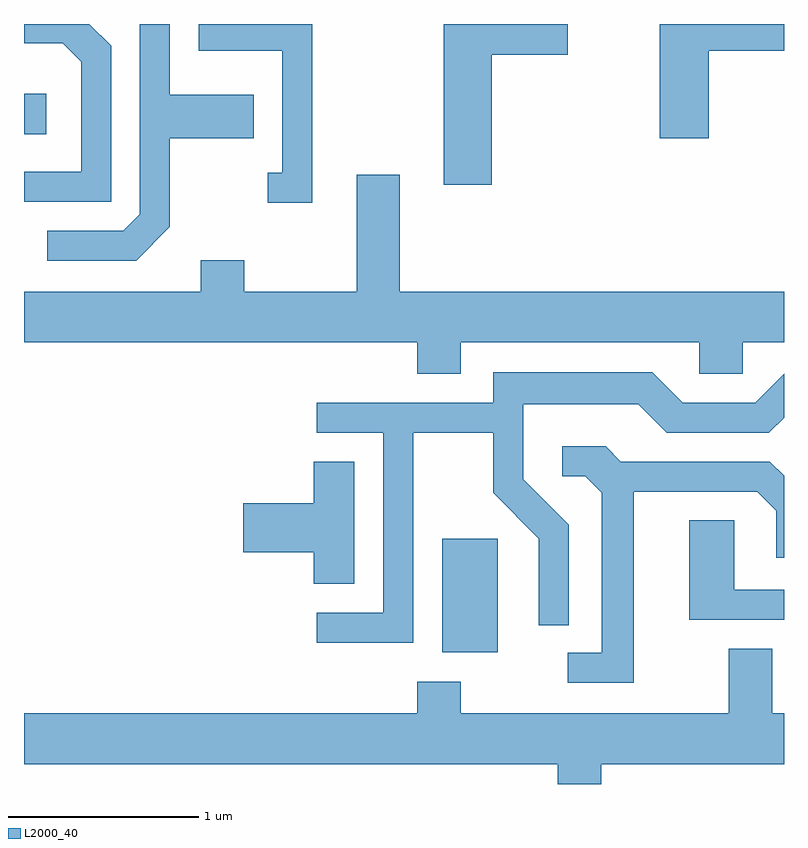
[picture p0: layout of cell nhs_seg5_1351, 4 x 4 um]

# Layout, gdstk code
import gdstk
lib = gdstk.Library(unit=1e-6, precision=1e-09)
def R(c, l, rs):  # rectangles x0, y0, x1, y1
    for r in rs: c.add(gdstk.rectangle(r[:2], r[2:], *l))
def P(c, l, *ps):  # polygons
    for p in ps: c.add(gdstk.Polygon(p, *l))
L2000_40 = (2000, 40)

nhs_seg5_1351 = lib.new_cell('nhs_seg5_1351')
R(nhs_seg5_1351, L2000_40, [(227.811,1410.766,228.104,1411.364), (225.611,1413.491,225.729,1413.704)])
P(nhs_seg5_1351, L2000_40, [(229.214,1413.931),(229.611,1413.931),(229.611,1414.072),(228.956,1414.072),(228.956,1413.471),(229.214,1413.471)],
  [(228.074,1413.911),(228.474,1413.911),(228.474,1414.072),(227.821,1414.072),(227.821,1413.226),(228.074,1413.226)],
  [(227.129,1414.072),(226.531,1414.072),(226.531,1413.931),(226.971,1413.931),(226.971,1413.289),(226.893,1413.289),(226.893,1413.131),(227.129,1413.131)],
  [(226.069,1413.957),(225.954,1414.072),(225.611,1414.072),(225.611,1413.971),(225.814,1413.971),(225.911,1413.874),(225.911,1413.294),(225.611,1413.294),(225.611,1413.136),(226.069,1413.136)],
  [(226.379,1413.004),(226.379,1413.471),(226.819,1413.471),(226.819,1413.699),(226.379,1413.699),(226.379,1414.072),(226.221,1414.072),(226.221,1413.072),(226.134,1412.984),(225.733,1412.984),(225.733,1412.826),(226.202,1412.826)],
  [(227.909,1412.396),(229.166,1412.396),(229.166,1412.231),(229.394,1412.231),(229.394,1412.396),(229.611,1412.396),(229.611,1412.664),(227.589,1412.664),(227.589,1413.279),(227.361,1413.279),(227.361,1412.664),(226.769,1412.664),(226.769,1412.829),(226.541,1412.829),(226.541,1412.664),(225.611,1412.664),(225.611,1412.396),(227.681,1412.396),(227.681,1412.231),(227.909,1412.231)],
  [(227.659,1411.921),(228.081,1411.921),(228.081,1411.604),(228.321,1411.364),(228.321,1410.908),(228.479,1410.908),(228.479,1411.437),(228.239,1411.677),(228.239,1412.071),(228.844,1412.071),(228.994,1411.921),(229.532,1411.921),(229.611,1412),(229.611,1412.231),(229.459,1412.079),(229.077,1412.079),(228.917,1412.239),(228.081,1412.239),(228.081,1412.079),(227.153,1412.079),(227.153,1411.921),(227.501,1411.921),(227.501,1410.974),(227.153,1410.974),(227.153,1410.816),(227.659,1410.816)],
  [(228.819,1411.611),(229.469,1411.611),(229.571,1411.509),(229.571,1411.263),(229.611,1411.263),(229.611,1411.695),(229.537,1411.769),(228.752,1411.769),(228.672,1411.849),(228.443,1411.849),(228.443,1411.691),(228.564,1411.691),(228.651,1411.604),(228.651,1410.764),(228.473,1410.764),(228.473,1410.606),(228.819,1410.606)],
  [(227.349,1411.769),(227.136,1411.769),(227.136,1411.549),(226.766,1411.549),(226.766,1411.291),(227.136,1411.291),(227.136,1411.126),(227.349,1411.126)],
  [(229.611,1411.094),(229.349,1411.094),(229.349,1411.459),(229.111,1411.459),(229.111,1410.936),(229.611,1410.936)],
  [(228.649,1410.176),(229.611,1410.176),(229.611,1410.444),(229.549,1410.444),(229.549,1410.784),(229.321,1410.784),(229.321,1410.444),(227.909,1410.444),(227.909,1410.609),(227.681,1410.609),(227.681,1410.444),(225.611,1410.444),(225.611,1410.176),(228.421,1410.176),(228.421,1410.072),(228.649,1410.072)])

lib.write_gds('nhs_seg5_1351.gds')
